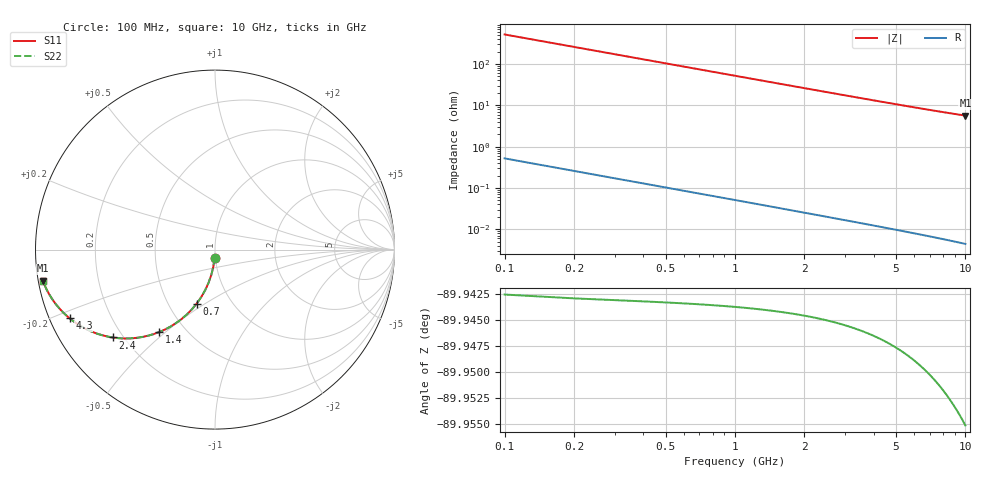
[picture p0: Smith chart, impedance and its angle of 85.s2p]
# Hz S RI R 50.00
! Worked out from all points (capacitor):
!   100 points, 100 MHz to 10 GHz, reference 50 ohm
!   read as one part in shunt: C = 3.06 pF near 100 MHz
!   lowest |Z| = 5.65 ohm at 10 GHz (marker M1)
!   S11 on the Smith chart (normalised r, x): 100 MHz: 0.99, -0.09; 700 MHz: 0.69, -0.46; 1.4 GHz: 0.36, -0.48; 2.4 GHz: 0.16, -0.36; 4.3 GHz: 0.06, -0.22; 10 GHz: 0.01, -0.09
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1e8  -0.00232 -0.0478  0.9976 -0.0482  0.9976 -0.0482  -0.00232 -0.0478
2e8  -0.00923 -0.0949  0.9907 -0.0957  0.9907 -0.0957  -0.00923 -0.0949
3e8  -0.0205 -0.1407  0.9794 -0.142  0.9794 -0.142  -0.0205 -0.1407
4e8  -0.0358 -0.1847  0.9641 -0.1863  0.9641 -0.1863  -0.0358 -0.1847
5e8  -0.0549 -0.2263  0.9451 -0.2283  0.9451 -0.2283  -0.0549 -0.2263
6e8  -0.0771 -0.2651  0.9228 -0.2675  0.9228 -0.2675  -0.0771 -0.2651
7e8  -0.102 -0.3008  0.8979 -0.3037  0.8979 -0.3037  -0.102 -0.3008
8e8  -0.1292 -0.3333  0.8707 -0.3366  0.8707 -0.3366  -0.1292 -0.3333
1e9  -0.1881 -0.3882  0.8119 -0.3924  0.8119 -0.3924  -0.1881 -0.3882
1.2e9  -0.25 -0.4301  0.7499 -0.435  0.7499 -0.435  -0.25 -0.4301
1.4e9  -0.312 -0.4599  0.6879 -0.4657  0.6879 -0.4657  -0.312 -0.4599
1.8e9  -0.4282 -0.4906  0.5717 -0.4981  0.5717 -0.4981  -0.4282 -0.4906
2.1e9  -0.5047 -0.4951  0.4952 -0.5038  0.4952 -0.5038  -0.5047 -0.4951
2.4e9  -0.5709 -0.4894  0.429 -0.4994  0.429 -0.4994  -0.5709 -0.4894
2.9e9  -0.66 -0.4671  0.3398 -0.4792  0.3398 -0.4792  -0.66 -0.4671
3.4e9  -0.7274 -0.4376  0.2724 -0.4519  0.2724 -0.4519  -0.7274 -0.4376
3.8e9  -0.7693 -0.4127  0.2305 -0.4287  0.2305 -0.4287  -0.7693 -0.4127
4.3e9  -0.8103 -0.3823  0.1894 -0.4005  0.1894 -0.4005  -0.8103 -0.3823
5.1e9  -0.8575 -0.338  0.1421 -0.3597  0.1421 -0.3597  -0.8575 -0.338
6.7e9  -0.9127 -0.2669  0.0868 -0.296  0.0868 -0.296  -0.9127 -0.2669
8.4e9  -0.9431 -0.2119  0.0561 -0.2489  0.0561 -0.2489  -0.9431 -0.2119
1e10  -0.9595 -0.1728  0.0394 -0.2176  0.0394 -0.2176  -0.9595 -0.1728
